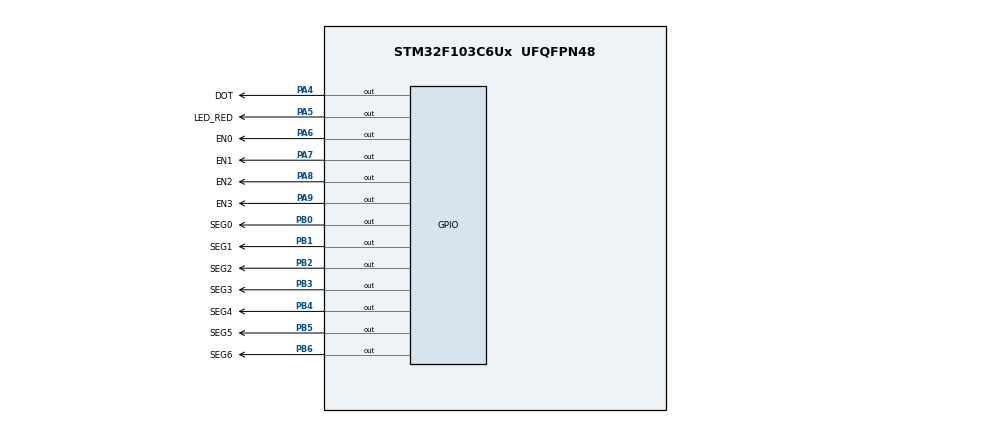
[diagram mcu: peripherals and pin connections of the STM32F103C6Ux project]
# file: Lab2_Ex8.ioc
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Mcu.Family=STM32F1
Mcu.Name=STM32F103C6Ux
Mcu.Package=UFQFPN48
NVIC.PriorityGroup=NVIC_PRIORITYGROUP_4
NVIC.TIM2_IRQn=true\:0\:0\:false\:false\:true\:false\:true
PA13.Mode=Serial_Wire
PA13.Signal=SYS_JTMS-SWDIO
PA14.Mode=Serial_Wire
PA14.Signal=SYS_JTCK-SWCLK
PA4.GPIO_Label=DOT
PA4.PinState=GPIO_PIN_SET
PA4.Signal=GPIO_Output
PA5.GPIO_Label=LED_RED
PA5.PinState=GPIO_PIN_SET
PA5.Signal=GPIO_Output
PA6.GPIO_Label=EN0
PA6.PinState=GPIO_PIN_SET
PA6.Signal=GPIO_Output
PA7.GPIO_Label=EN1
PA7.PinState=GPIO_PIN_SET
PA7.Signal=GPIO_Output
PA8.GPIO_Label=EN2
PA8.PinState=GPIO_PIN_SET
PA8.Signal=GPIO_Output
PA9.GPIO_Label=EN3
PA9.PinState=GPIO_PIN_SET
PA9.Signal=GPIO_Output
PB0.GPIO_Label=SEG0
PB0.PinState=GPIO_PIN_SET
PB0.Signal=GPIO_Output
PB1.GPIO_Label=SEG1
PB1.PinState=GPIO_PIN_SET
PB1.Signal=GPIO_Output
PB2.GPIO_Label=SEG2
PB2.PinState=GPIO_PIN_SET
PB2.Signal=GPIO_Output
PB3.GPIO_Label=SEG3
PB3.PinState=GPIO_PIN_SET
PB3.Signal=GPIO_Output
PB4.GPIO_Label=SEG4
PB4.PinState=GPIO_PIN_SET
PB4.Signal=GPIO_Output
PB5.GPIO_Label=SEG5
PB5.PinState=GPIO_PIN_SET
PB5.Signal=GPIO_Output
PB6.GPIO_Label=SEG6
PB6.PinState=GPIO_PIN_SET
PB6.Signal=GPIO_Output
ProjectManager.HeapSize=0x200
ProjectManager.StackSize=0x400
ProjectManager.TargetToolchain=STM32CubeIDE
RCC.APB1Freq_Value=8000000
RCC.APB2Freq_Value=8000000
TIM2.Period=9
TIM2.Prescaler=7999
VP_TIM2_VS_ClockSourceINT.Mode=Internal
board=custom

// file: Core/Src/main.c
/* USER CODE BEGIN Header */
/**
  ******************************************************************************
  * @file           : main.c
  * @brief          : Main program body
  *                   Lab 2 - Exercise 8 - Ngat chi con timer_run(), moi xu ly nam o main
  ******************************************************************************
  * @attention
  *
  * <h2><center>&copy; Copyright (c) 2026 STMicroelectronics.
  * All rights reserved.</center></h2>
  *
  * This software component is licensed by ST under BSD 3-Clause license,
  * the "License"; You may not use this file except in compliance with the
  * License. You may obtain a copy of the License at:
  *                        opensource.org/licenses/BSD-3-Clause
  *
  ******************************************************************************
  */
/* USER CODE END Header */
#include "main.h"

/* USER CODE BEGIN PD */
/* LED 7 doan common anode -> doan sang khi xuat muc 0 */
#define SEG_ON            GPIO_PIN_RESET
#define SEG_OFF           GPIO_PIN_SET

/* PNP: xuat muc 0 -> transistor dan -> LED 7 doan duoc cap nguon */
#define EN_ON             GPIO_PIN_RESET
#define EN_OFF            GPIO_PIN_SET

#define MAX_LED           4
#define CLOCK_TICK_MS     1000                     /* dong ho + DOT */
#define SWITCH_TIME_MS    (1000 / MAX_LED)         /* 250 ms -> quet 1 Hz */
/* USER CODE END PD */

TIM_HandleTypeDef htim2;

void SystemClock_Config(void);
static void MX_GPIO_Init(void);
static void MX_TIM2_Init(void);

/* USER CODE BEGIN 0 */
int index_led = 0;
int led_buffer[MAX_LED] = {0, 0, 0, 0};
int dot_state = 0;

/* --- Dong ho: gio / phut / giay --- */
int hour = 15, minute = 8, second = 50;

/* ====================== SOFTWARE TIMER ======================
   Moi lan ngat TIM2 (10 ms) thi timer_run() dem lui 1 nhip.
   Dem ve 0 thi dung co timerX_flag cho main() biet "da den han". */
#define TIMER_CYCLE   10          /* chu ky ngat TIM2, don vi ms */

int timer0_counter = 0;
int timer0_flag    = 0;

void setTimer0(int duration)
{
  timer0_counter = duration / TIMER_CYCLE;   /* doi ms -> so nhip ngat */
  timer0_flag    = 0;
}

int timer1_counter = 0;
int timer1_flag    = 0;

void setTimer1(int duration)
{
  timer1_counter = duration / TIMER_CYCLE;   /* doi ms -> so nhip ngat */
  timer1_flag    = 0;
}

void timer_run(void)
{
  if (timer0_counter > 0) {
    timer0_counter--;
    if (timer0_counter == 0) timer0_flag = 1;
  }
  if (timer1_counter > 0) {
    timer1_counter--;
    if (timer1_counter == 0) timer1_flag = 1;
  }
}

/* Bang ma 7 doan, bit0..bit6 = doan a..g (kieu gfedcba).
   LED common anode: doan SANG khi chan tin hieu o muc 0. */
const uint8_t SEG_CODE[10] = {
  0x3F, 0x06, 0x5B, 0x4F, 0x66, 0x6D, 0x7D, 0x07, 0x7F, 0x6F
};

void display7SEG(int num)
{
  if (num < 0 || num > 9) return;                 /* chong tran bang    */
  for (int i = 0; i < 7; i++) {                   /* SEG0..SEG6 = PB0..PB6 */
    HAL_GPIO_WritePin(SEG0_GPIO_Port, (uint16_t)(SEG0_Pin << i),
                      ((SEG_CODE[num] >> i) & 1) ? SEG_ON : SEG_OFF);
  }
}

void update7SEG(int index)
{
  /* B1: TAT het 4 LED truoc. Neu bo buoc nay, du lieu cua LED cu con
         nam tren bus SEG trong luc LED moi da sang -> bong mo (ghosting). */
  HAL_GPIO_WritePin(EN0_GPIO_Port, EN0_Pin | EN1_Pin | EN2_Pin | EN3_Pin, EN_OFF);

  /* B2: dat du lieu  ->  B3: bat DUNG 1 LED */
  switch (index) {
    case 0:  display7SEG(led_buffer[0]);
             HAL_GPIO_WritePin(EN0_GPIO_Port, EN0_Pin, EN_ON);  break;
    case 1:  display7SEG(led_buffer[1]);
             HAL_GPIO_WritePin(EN1_GPIO_Port, EN1_Pin, EN_ON);  break;
    case 2:  display7SEG(led_buffer[2]);
             HAL_GPIO_WritePin(EN2_GPIO_Port, EN2_Pin, EN_ON);  break;
    case 3:  display7SEG(led_buffer[3]);
             HAL_GPIO_WritePin(EN3_GPIO_Port, EN3_Pin, EN_ON);  break;
    default: break;
  }
}

/* Doi gio:phut thanh 4 chu so cho 4 LED 7 doan.
   So 1 chu so tu dong co so 0 o truoc, vi du 8 gio -> "08". */
void updateClockBuffer(void)
{
  led_buffer[0] = hour   / 10;
  led_buffer[1] = hour   % 10;
  led_buffer[2] = minute / 10;
  led_buffer[3] = minute % 10;
}
/* USER CODE END 0 */

int main(void)
{

  /* MCU Configuration--------------------------------------------------------*/

  /* Reset of all peripherals, Initializes the Flash interface and the Systick. */
  HAL_Init();

  /* Configure the system clock */
  SystemClock_Config();

  /* Initialize all configured peripherals */
  MX_GPIO_Init();
  MX_TIM2_Init();
  /* USER CODE BEGIN 2 */
  updateClockBuffer();
  HAL_TIM_Base_Start_IT(&htim2);

  setTimer0(CLOCK_TICK_MS);        /* timer 0: dong ho + DOT  */
  setTimer1(SWITCH_TIME_MS);       /* timer 1: quet LED 7 doan */
  /* USER CODE END 2 */

  /* Infinite loop */
  /* USER CODE BEGIN WHILE */
  while (1)
  {
    /* ----- Timer 0: dong ho va DOT, moi 1 giay ----- */
    if (timer0_flag == 1) {
      setTimer0(CLOCK_TICK_MS);

        second++;
        if (second >= 60) { second = 0; minute++; }
        if (minute >= 60) { minute = 0; hour++;   }
        if (hour   >= 24) { hour   = 0;           }
        updateClockBuffer();

        dot_state = !dot_state;
        HAL_GPIO_WritePin(DOT_GPIO_Port, DOT_Pin,
                          dot_state ? GPIO_PIN_SET : GPIO_PIN_RESET);
    }

    /* ----- Timer 1: quet LED 7 doan, moi 250 ms ----- */
    if (timer1_flag == 1) {
      setTimer1(SWITCH_TIME_MS);
      update7SEG(index_led++);
      if (index_led >= MAX_LED) index_led = 0;
    }
    /* USER CODE END WHILE */

  }
}

void SystemClock_Config(void)
{
  RCC_OscInitTypeDef RCC_OscInitStruct = {0};
  RCC_ClkInitTypeDef RCC_ClkInitStruct = {0};

  /** Initializes the RCC Oscillators according to the specified parameters
  * in the RCC_OscInitTypeDef structure.
  */
  RCC_OscInitStruct.OscillatorType = RCC_OSCILLATORTYPE_HSI;
  RCC_OscInitStruct.HSIState = RCC_HSI_ON;
  RCC_OscInitStruct.HSICalibrationValue = RCC_HSICALIBRATION_DEFAULT;
  RCC_OscInitStruct.PLL.PLLState = RCC_PLL_NONE;
  if (HAL_RCC_OscConfig(&RCC_OscInitStruct) != HAL_OK)
  {
    Error_Handler();
  }
  /** Initializes the CPU, AHB and APB buses clocks
  */
  RCC_ClkInitStruct.ClockType = RCC_CLOCKTYPE_HCLK|RCC_CLOCKTYPE_SYSCLK
                              |RCC_CLOCKTYPE_PCLK1|RCC_CLOCKTYPE_PCLK2;
  RCC_ClkInitStruct.SYSCLKSource = RCC_SYSCLKSOURCE_HSI;
  RCC_ClkInitStruct.AHBCLKDivider = RCC_SYSCLK_DIV1;
  RCC_ClkInitStruct.APB1CLKDivider = RCC_HCLK_DIV1;
  RCC_ClkInitStruct.APB2CLKDivider = RCC_HCLK_DIV1;

  if (HAL_RCC_ClockConfig(&RCC_ClkInitStruct, FLASH_LATENCY_0) != HAL_OK)
  {
    Error_Handler();
  }
}

static void MX_GPIO_Init(void)
{
  GPIO_InitTypeDef GPIO_InitStruct = {0};

  /* GPIO Ports Clock Enable */
  __HAL_RCC_GPIOA_CLK_ENABLE();
  __HAL_RCC_GPIOB_CLK_ENABLE();

  /*Configure GPIO pin Output Level */
  HAL_GPIO_WritePin(GPIOA, DOT_Pin|LED_RED_Pin|EN0_Pin
                          |EN1_Pin|EN2_Pin|EN3_Pin, GPIO_PIN_SET);

  /*Configure GPIO pin Output Level */
  HAL_GPIO_WritePin(GPIOB, SEG0_Pin|SEG1_Pin|SEG2_Pin
                          |SEG3_Pin|SEG4_Pin|SEG5_Pin
                          |SEG6_Pin, GPIO_PIN_SET);

  /*Configure GPIO pins : DOT_Pin LED_RED_Pin EN0_Pin EN1_Pin EN2_Pin EN3_Pin */
  GPIO_InitStruct.Pin = DOT_Pin|LED_RED_Pin|EN0_Pin
                          |EN1_Pin|EN2_Pin|EN3_Pin;
  GPIO_InitStruct.Mode = GPIO_MODE_OUTPUT_PP;
  GPIO_InitStruct.Pull = GPIO_NOPULL;
  GPIO_InitStruct.Speed = GPIO_SPEED_FREQ_LOW;
  HAL_GPIO_Init(GPIOA, &GPIO_InitStruct);

  /*Configure GPIO pins : SEG0_Pin SEG1_Pin SEG2_Pin SEG3_Pin SEG4_Pin SEG5_Pin SEG6_Pin */
  GPIO_InitStruct.Pin = SEG0_Pin|SEG1_Pin|SEG2_Pin
                          |SEG3_Pin|SEG4_Pin|SEG5_Pin
                          |SEG6_Pin;
  GPIO_InitStruct.Mode = GPIO_MODE_OUTPUT_PP;
  GPIO_InitStruct.Pull = GPIO_NOPULL;
  GPIO_InitStruct.Speed = GPIO_SPEED_FREQ_LOW;
  HAL_GPIO_Init(GPIOB, &GPIO_InitStruct);

}
static void MX_TIM2_Init(void)
{

  TIM_ClockConfigTypeDef sClockSourceConfig = {0};
  TIM_MasterConfigTypeDef sMasterConfig = {0};

  htim2.Instance = TIM2;
  htim2.Init.Prescaler = 7999;
  htim2.Init.CounterMode = TIM_COUNTERMODE_UP;
  htim2.Init.Period = 9;
  htim2.Init.ClockDivision = TIM_CLOCKDIVISION_DIV1;
  htim2.Init.AutoReloadPreload = TIM_AUTORELOAD_PRELOAD_DISABLE;
  if (HAL_TIM_Base_Init(&htim2) != HAL_OK)
  {
    Error_Handler();
  }
  sClockSourceConfig.ClockSource = TIM_CLOCKSOURCE_INTERNAL;
  if (HAL_TIM_ConfigClockSource(&htim2, &sClockSourceConfig) != HAL_OK)
  {
    Error_Handler();
  }
  sMasterConfig.MasterOutputTrigger = TIM_TRGO_RESET;
  sMasterConfig.MasterSlaveMode = TIM_MASTERSLAVEMODE_DISABLE;
  if (HAL_TIMEx_MasterConfigSynchronization(&htim2, &sMasterConfig) != HAL_OK)
  {
    Error_Handler();
  }

}

/* USER CODE BEGIN 4 */
/* Ngat TIM2 bay gio CHI con dem software timer - ngan nhat co the.
   Moi tinh toan nang da nam o vong lap while(1) trong main(). */
void HAL_TIM_PeriodElapsedCallback(TIM_HandleTypeDef *htim)
{
  if (htim->Instance == TIM2) {
    timer_run();
  }
}
/* USER CODE END 4 */

void Error_Handler(void)
{
  __disable_irq();
  while (1)
  {
  }
}

/************************ (C) COPYRIGHT STMicroelectronics *****END OF FILE****/
